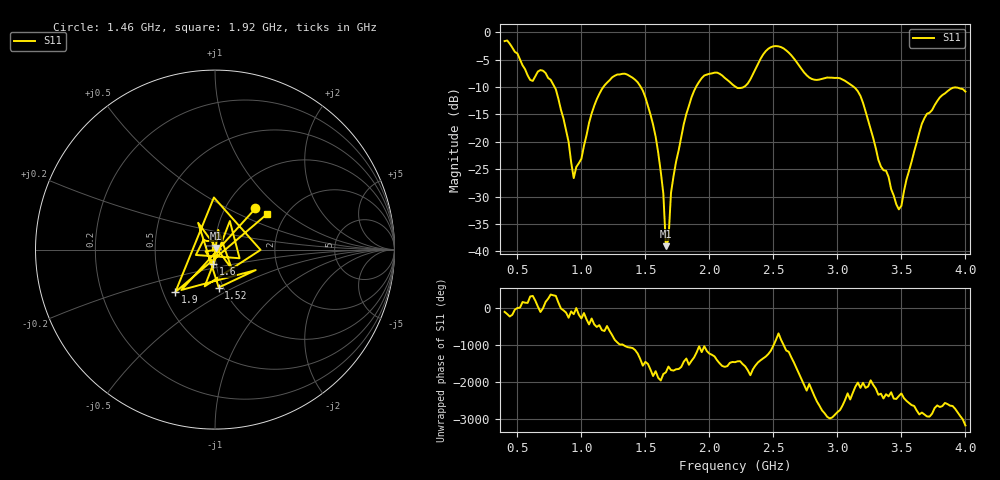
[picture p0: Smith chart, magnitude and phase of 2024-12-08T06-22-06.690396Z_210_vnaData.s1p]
!Created with skrf (http://scikit-rf.org).
# Hz S RI R 50.0
!freq ReS11 ImS11
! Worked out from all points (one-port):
!   181 points, 400 MHz to 4 GHz, reference 50 ohm
!   lowest |S11| = -39.1 dB at 1.66 GHz (marker M1), VSWR 1.02, Z = 50.7 + j0.875 ohm
!   |S11| at or under -10 dB: 790.4 MHz to 1.172 GHz (381.5 MHz wide, 38.9 % of centre); 1.463 GHz to 1.896 GHz (432.2 MHz wide, 25.7 % of centre); 3.128 GHz to end of sweep (the widest 3 of 4)
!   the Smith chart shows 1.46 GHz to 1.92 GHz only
!   S11 on the Smith chart (normalised r, x): 1.46 GHz: 1.37, +0.70; 1.52 GHz: 0.95, -0.42; 1.6 GHz: 0.97, -0.15; 1.9 GHz: 0.58, -0.31; 1.92 GHz: 1.62, +0.74
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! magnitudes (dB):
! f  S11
! 400 MHz  -1.6
! 600 MHz  -8.7
! 720 MHz  -7.4
! 860 MHz  -15.8
! 940 MHz  -26.6
! 1.12 GHz  -12.3
! 1.3 GHz  -7.7
! 1.46 GHz  -9.9
! 1.52 GHz  -13.5
! 1.6 GHz  -22.0
! 1.64 GHz  -29.4
! 1.66 GHz  -39.1
! 1.68 GHz  -37.9
! 1.7 GHz  -29.3
! 1.76 GHz  -21.5
! 1.9 GHz  -9.8
! 1.92 GHz  -9.0
! 2.06 GHz  -7.4
! 2.2 GHz  -9.9
! 2.48 GHz  -2.7
! 2.66 GHz  -4.8
! 2.8 GHz  -8.5
! 3.1 GHz  -9.5
! 3.18 GHz  -11.6
! 3.48 GHz  -32.3
! 3.56 GHz  -25.3
! 3.7 GHz  -14.9
! 4 GHz  -10.8
